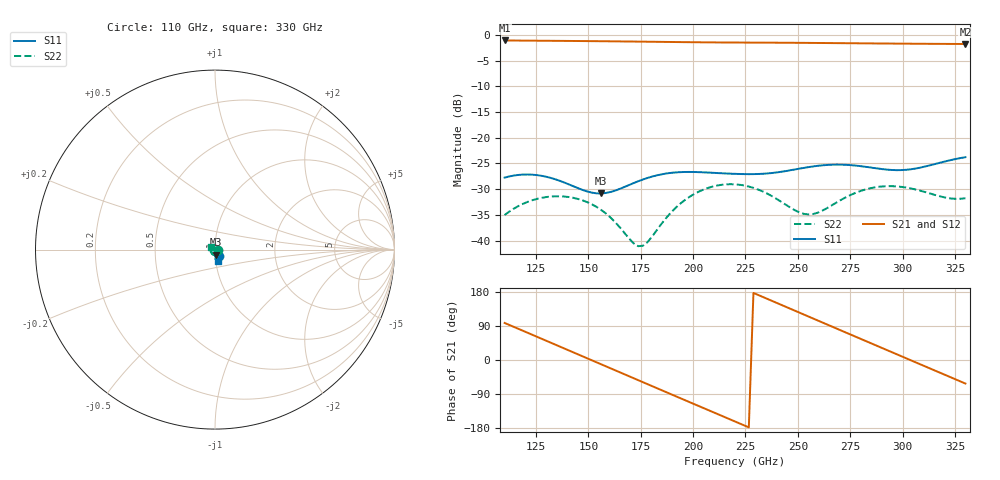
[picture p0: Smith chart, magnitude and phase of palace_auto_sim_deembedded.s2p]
! Created with skrf 1.11.0 (http://scikit-rf.org).
# GHz S DB R 50.0
!freq dBS11 angS11 dBS21 angS21 dBS12 angS12 dBS22 angS22
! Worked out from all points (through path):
!   101 points, 110 GHz to 330 GHz, reference 50 ohm
!   highest |S21| = -1.10 dB at 110 GHz (marker M1); lowest = -1.8 dB at 330 GHz (marker M2)
!   group delay of S21, straight-line fit = 6.57 ps
!   lowest |S11| = -30.8 dB at 156.2 GHz (marker M3), VSWR 1.06, Z = 50.6 - j2.84 ohm
!   |S11| at or under -10 dB: start of sweep to end of sweep
!   |S22| runs from -41.1 to -29.0 dB; largest |S21 - S12| = 9.9e-14
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110  -27.75 -57.3  -1.10 97.8  -1.10 97.8  -35.01 -9.5
118.8  -27.16 -68.8  -1.13 77.0  -1.13 77.0  -32.83 -20.3
127.6  -27.39 -79.5  -1.15 56.2  -1.15 56.2  -31.68 -35.1
138.6  -28.71 -87.9  -1.19 30.2  -1.19 30.2  -31.42 -57.3
147.4  -30.16 -86.6  -1.22 9.3  -1.22 9.3  -32.19 -78.1
156.2  -30.82 -77.1  -1.25 -11.6  -1.25 -11.6  -34.05 -103.2
173.8  -28.45 -66.0  -1.32 -53.3  -1.32 -53.3  -41.06 157.9
184.8  -27.12 -70.8  -1.37 -79.3  -1.37 -79.3  -36.77 71.6
200.2  -26.65 -79.3  -1.44 -115.6  -1.44 -115.6  -31.01 11.5
211.2  -26.85 -82.2  -1.48 -141.5  -1.48 -141.5  -29.30 -24.0
220  -27.01 -82.5  -1.50 -162.2  -1.50 -162.2  -29.05 -52.9
228.8  -27.06 -81.2  -1.52 177.0  -1.52 177.0  -29.73 -83.8
237.6  -26.85 -79.1  -1.53 156.2  -1.53 156.2  -31.33 -118.9
248.6  -26.16 -77.8  -1.56 130.1  -1.56 130.1  -34.08 -176.0
257.4  -25.56 -79.5  -1.58 109.3  -1.58 109.3  -34.81 125.0
266.2  -25.24 -82.8  -1.61 88.4  -1.61 88.4  -33.13 71.1
275  -25.31 -86.2  -1.64 67.6  -1.64 67.6  -31.15 29.4
286  -25.85 -87.5  -1.68 41.6  -1.68 41.6  -29.69 -14.5
294.8  -26.26 -84.5  -1.70 20.9  -1.70 20.9  -29.41 -48.0
303.6  -26.14 -79.3  -1.73 0.1  -1.73 0.1  -29.82 -82.9
312.4  -25.43 -75.4  -1.75 -20.6  -1.75 -20.6  -30.74 -122.0
330  -23.78 -77.3  -1.79 -62.2  -1.79 -62.2  -31.75 141.2
